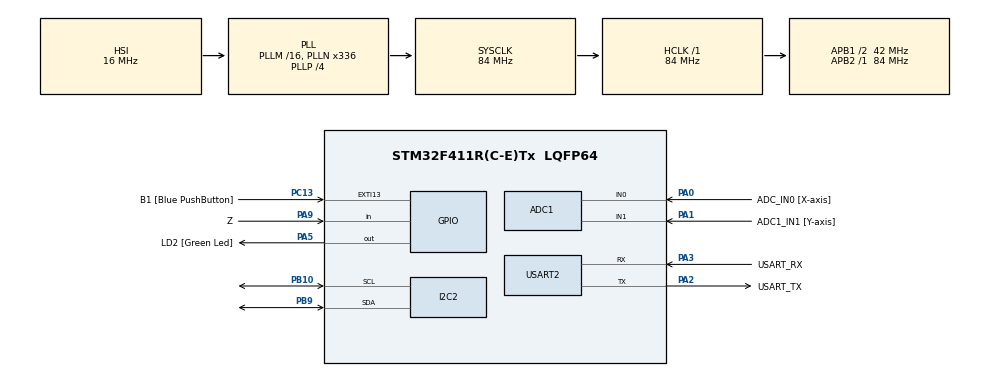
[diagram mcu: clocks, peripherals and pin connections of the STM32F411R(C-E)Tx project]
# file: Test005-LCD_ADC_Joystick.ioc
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ADC1.Channel-0\#ChannelRegularConversion=ADC_CHANNEL_0
ADC1.Channel-1\#ChannelRegularConversion=ADC_CHANNEL_1
ADC1.DMAContinuousRequests=ENABLE
ADC1.DiscontinuousConvMode=ENABLE
ADC1.EOCSelection=ADC_EOC_SINGLE_CONV
ADC1.ExternalTrigConv=ADC_EXTERNALTRIGCONV_T3_TRGO
ADC1.NbrOfConversion=2
ADC1.NbrOfConversionFlag=1
ADC1.Rank-0\#ChannelRegularConversion=1
ADC1.Rank-1\#ChannelRegularConversion=2
ADC1.SamplingTime-0\#ChannelRegularConversion=ADC_SAMPLETIME_3CYCLES
ADC1.SamplingTime-1\#ChannelRegularConversion=ADC_SAMPLETIME_3CYCLES
ADC1.ScanConvMode=ENABLE
ADC1.master=1
Dma.ADC1.0.Direction=DMA_PERIPH_TO_MEMORY
Dma.ADC1.0.FIFOMode=DMA_FIFOMODE_DISABLE
Dma.ADC1.0.Instance=DMA2_Stream0
Dma.ADC1.0.MemDataAlignment=DMA_MDATAALIGN_HALFWORD
Dma.ADC1.0.MemInc=DMA_MINC_ENABLE
Dma.ADC1.0.Mode=DMA_CIRCULAR
Dma.ADC1.0.PeriphDataAlignment=DMA_PDATAALIGN_HALFWORD
Dma.ADC1.0.PeriphInc=DMA_PINC_DISABLE
Dma.ADC1.0.Priority=DMA_PRIORITY_LOW
Dma.Request0=ADC1
Mcu.Family=STM32F4
Mcu.Name=STM32F411R(C-E)Tx
Mcu.Package=LQFP64
NVIC.DMA2_Stream0_IRQn=true\:0\:0\:false\:false\:true\:false\:true\:true
NVIC.PriorityGroup=NVIC_PRIORITYGROUP_0
PA0-WKUP.GPIO_Label=ADC_IN0 [X-axis]
PA0-WKUP.Signal=ADCx_IN0
PA1.GPIO_Label=ADC1_IN1 [Y-axis]
PA1.Signal=ADCx_IN1
PA13.GPIO_Label=TMS
PA13.Mode=Serial_Wire
PA13.Signal=SYS_JTMS-SWDIO
PA14.GPIO_Label=TCK
PA14.Mode=Serial_Wire
PA14.Signal=SYS_JTCK-SWCLK
PA2.GPIO_Label=USART_TX
PA2.Mode=Asynchronous
PA2.Signal=USART2_TX
PA3.GPIO_Label=USART_RX
PA3.Mode=Asynchronous
PA3.Signal=USART2_RX
PA5.GPIO_Label=LD2 [Green Led]
PA5.Signal=GPIO_Output
PA9.GPIO_Label=Z
PA9.GPIO_PuPd=GPIO_PULLUP
PA9.Signal=GPIO_Input
PB10.Mode=I2C
PB10.Signal=I2C2_SCL
PB3.GPIO_Label=SWO
PB3.Signal=SYS_JTDO-SWO
PB9.Mode=I2C
PB9.Signal=I2C2_SDA
PC13-ANTI_TAMP.GPIO_Label=B1 [Blue PushButton]
PC13-ANTI_TAMP.GPIO_ModeDefaultEXTI=GPIO_MODE_IT_FALLING
PC13-ANTI_TAMP.Signal=GPXTI13
PC14-OSC32_IN.Mode=LSE-External-Oscillator
PC14-OSC32_IN.Signal=RCC_OSC32_IN
PC15-OSC32_OUT.Mode=LSE-External-Oscillator
PC15-OSC32_OUT.Signal=RCC_OSC32_OUT
PH0\ -\ OSC_IN.Mode=HSE-External-Clock-Source
PH0\ -\ OSC_IN.Signal=RCC_OSC_IN
PH1\ -\ OSC_OUT.Mode=HSE-External-Clock-Source
PH1\ -\ OSC_OUT.Signal=RCC_OSC_OUT
ProjectManager.HeapSize=0x200
ProjectManager.StackSize=0x400
ProjectManager.TargetToolchain=STM32CubeIDE
RCC.48MHZClocksFreq_Value=84000000
RCC.AHBFreq_Value=84000000
RCC.APB1CLKDivider=RCC_HCLK_DIV2
RCC.APB1Freq_Value=42000000
RCC.APB1TimFreq_Value=84000000
RCC.APB2Freq_Value=84000000
RCC.APB2TimFreq_Value=84000000
RCC.CortexFreq_Value=84000000
RCC.FLatency-AdvancedSettings=FLASH_LATENCY_2
RCC.HCLKFreq_Value=84000000
RCC.HSE_VALUE=8000000
RCC.HSI_VALUE=16000000
RCC.PLLN=336
RCC.PLLP=RCC_PLLP_DIV4
RCC.SYSCLKFreq_VALUE=84000000
RCC.SYSCLKSource=RCC_SYSCLKSOURCE_PLLCLK
RCC.VCOOutputFreq_Value=336000000
SH.ADCx_IN0.0=ADC1_IN0,IN0
SH.ADCx_IN1.0=ADC1_IN1,IN1
TIM3.Period=1000-1
TIM3.Prescaler=4200-1
TIM3.TIM_MasterOutputTrigger=TIM_TRGO_UPDATE
USART2.VirtualMode=VM_ASYNC
VP_TIM3_VS_ClockSourceINT.Mode=Internal
board=NUCLEO-F411RE

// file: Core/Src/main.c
/* USER CODE BEGIN Header */
/**
  ******************************************************************************
  * @file           : main.c
  * @brief          : Main program body
  ******************************************************************************
  * @attention
  *
  * Copyright (c) 2024 STMicroelectronics.
  * All rights reserved.
  *
  * This software is licensed under terms that can be found in the LICENSE file
  * in the root directory of this software component.
  * If no LICENSE file comes with this software, it is provided AS-IS.
  *
  ******************************************************************************
  */
/* USER CODE END Header */
#include "main.h"

ADC_HandleTypeDef hadc1;
DMA_HandleTypeDef hdma_adc1;

I2C_HandleTypeDef hi2c2;

TIM_HandleTypeDef htim3;

UART_HandleTypeDef huart2;

void SystemClock_Config(void);
static void MX_GPIO_Init(void);
static void MX_DMA_Init(void);
static void MX_USART2_UART_Init(void);
static void MX_ADC1_Init(void);
static void MX_TIM3_Init(void);
static void MX_I2C2_Init(void);

/* USER CODE BEGIN 0 */
unsigned short val[2]; // half-word : 2-byte > unsigned short
// val[0] : x, val[1] : y

/* USER CODE END 0 */

int main(void)
{

  /* MCU Configuration--------------------------------------------------------*/

  /* Reset of all peripherals, Initializes the Flash interface and the Systick. */
  HAL_Init();

  /* Configure the system clock */
  SystemClock_Config();

  /* Initialize all configured peripherals */
  MX_GPIO_Init();
  MX_DMA_Init();
  MX_USART2_UART_Init();
  MX_ADC1_Init();
  MX_TIM3_Init();
  MX_I2C2_Init();
  /* USER CODE BEGIN 2 */
  ProgramStart("I2C - LCD 1602 - ADC - Joystick");

  HAL_ADC_Start_DMA(&hadc1, val, 2);
  // HAL_StatusTypeDef HAL_ADC_Start_DMA(ADC_HandleTypeDef *hadc, uint32_t *pData, uint32_t Length)
  // uint32_t *pData : Buffer
  // uint32_t Length : Buffer Length
  HAL_TIM_Base_Start(&htim3); // // Start Timer 3 Function (INTR X)

  i2c_init(&hi2c2); // which I2C controller will be used?
  i2c_scan(); // Find Slave Address for I2C Communication
  HAL_Delay(10);

  LCD_init(); HAL_Delay(10);

  char val0_arr[20], val1_arr[20]; // sprintf Buffer

  /* USER CODE END 2 */

  /* Infinite loop */
  while (1)
  {

    /* USER CODE BEGIN 3 */
	double tm = (240.0 / 4096.0) * val[0] - 40.0;
	double hm = (100.0 / 4096.0) * val[1];

	sprintf( val0_arr, "X : %-6.1f" , tm );
	sprintf( val1_arr, "Y : %-6.1f" , hm );
	// char val0_arr[4] = { 48 + val[0]/1000, 48 + (val[0]%1000)/100, 48 + (val[0]%100)/10, 48 + val[0]%10 };
	// char val1_arr[4] = { 48 + val[1]/1000, 48 + (val[1]%1000)/100, 48 + (val[1]%100)/10, 48 + val[1]%10 };

	LCD_PrintEx(val0_arr, 0);
	// HAL_Delay(300);
	LCD_PrintEx(val1_arr, 1);
	HAL_Delay(300);
  }
  /* USER CODE END 3 */
}

void SystemClock_Config(void)
{
  RCC_OscInitTypeDef RCC_OscInitStruct = {0};
  RCC_ClkInitTypeDef RCC_ClkInitStruct = {0};

  /** Configure the main internal regulator output voltage
  */
  __HAL_RCC_PWR_CLK_ENABLE();
  __HAL_PWR_VOLTAGESCALING_CONFIG(PWR_REGULATOR_VOLTAGE_SCALE1);

  /** Initializes the RCC Oscillators according to the specified parameters
  * in the RCC_OscInitTypeDef structure.
  */
  RCC_OscInitStruct.OscillatorType = RCC_OSCILLATORTYPE_HSI;
  RCC_OscInitStruct.HSIState = RCC_HSI_ON;
  RCC_OscInitStruct.HSICalibrationValue = RCC_HSICALIBRATION_DEFAULT;
  RCC_OscInitStruct.PLL.PLLState = RCC_PLL_ON;
  RCC_OscInitStruct.PLL.PLLSource = RCC_PLLSOURCE_HSI;
  RCC_OscInitStruct.PLL.PLLM = 16;
  RCC_OscInitStruct.PLL.PLLN = 336;
  RCC_OscInitStruct.PLL.PLLP = RCC_PLLP_DIV4;
  RCC_OscInitStruct.PLL.PLLQ = 4;
  if (HAL_RCC_OscConfig(&RCC_OscInitStruct) != HAL_OK)
  {
    Error_Handler();
  }

  /** Initializes the CPU, AHB and APB buses clocks
  */
  RCC_ClkInitStruct.ClockType = RCC_CLOCKTYPE_HCLK|RCC_CLOCKTYPE_SYSCLK
                              |RCC_CLOCKTYPE_PCLK1|RCC_CLOCKTYPE_PCLK2;
  RCC_ClkInitStruct.SYSCLKSource = RCC_SYSCLKSOURCE_PLLCLK;
  RCC_ClkInitStruct.AHBCLKDivider = RCC_SYSCLK_DIV1;
  RCC_ClkInitStruct.APB1CLKDivider = RCC_HCLK_DIV2;
  RCC_ClkInitStruct.APB2CLKDivider = RCC_HCLK_DIV1;

  if (HAL_RCC_ClockConfig(&RCC_ClkInitStruct, FLASH_LATENCY_2) != HAL_OK)
  {
    Error_Handler();
  }
}

static void MX_ADC1_Init(void)
{

  ADC_ChannelConfTypeDef sConfig = {0};

  /** Configure the global features of the ADC (Clock, Resolution, Data Alignment and number of conversion)
  */
  hadc1.Instance = ADC1;
  hadc1.Init.ClockPrescaler = ADC_CLOCK_SYNC_PCLK_DIV4;
  hadc1.Init.Resolution = ADC_RESOLUTION_12B;
  hadc1.Init.ScanConvMode = ENABLE;
  hadc1.Init.ContinuousConvMode = DISABLE;
  hadc1.Init.DiscontinuousConvMode = ENABLE;
  hadc1.Init.NbrOfDiscConversion = 1;
  hadc1.Init.ExternalTrigConvEdge = ADC_EXTERNALTRIGCONVEDGE_RISING;
  hadc1.Init.ExternalTrigConv = ADC_EXTERNALTRIGCONV_T3_TRGO;
  hadc1.Init.DataAlign = ADC_DATAALIGN_RIGHT;
  hadc1.Init.NbrOfConversion = 2;
  hadc1.Init.DMAContinuousRequests = ENABLE;
  hadc1.Init.EOCSelection = ADC_EOC_SINGLE_CONV;
  if (HAL_ADC_Init(&hadc1) != HAL_OK)
  {
    Error_Handler();
  }

  /** Configure for the selected ADC regular channel its corresponding rank in the sequencer and its sample time.
  */
  sConfig.Channel = ADC_CHANNEL_0;
  sConfig.Rank = 1;
  sConfig.SamplingTime = ADC_SAMPLETIME_3CYCLES;
  if (HAL_ADC_ConfigChannel(&hadc1, &sConfig) != HAL_OK)
  {
    Error_Handler();
  }

  /** Configure for the selected ADC regular channel its corresponding rank in the sequencer and its sample time.
  */
  sConfig.Channel = ADC_CHANNEL_1;
  sConfig.Rank = 2;
  if (HAL_ADC_ConfigChannel(&hadc1, &sConfig) != HAL_OK)
  {
    Error_Handler();
  }

}

static void MX_I2C2_Init(void)
{

  hi2c2.Instance = I2C2;
  hi2c2.Init.ClockSpeed = 100000;
  hi2c2.Init.DutyCycle = I2C_DUTYCYCLE_2;
  hi2c2.Init.OwnAddress1 = 0;
  hi2c2.Init.AddressingMode = I2C_ADDRESSINGMODE_7BIT;
  hi2c2.Init.DualAddressMode = I2C_DUALADDRESS_DISABLE;
  hi2c2.Init.OwnAddress2 = 0;
  hi2c2.Init.GeneralCallMode = I2C_GENERALCALL_DISABLE;
  hi2c2.Init.NoStretchMode = I2C_NOSTRETCH_DISABLE;
  if (HAL_I2C_Init(&hi2c2) != HAL_OK)
  {
    Error_Handler();
  }

}

static void MX_TIM3_Init(void)
{

  TIM_ClockConfigTypeDef sClockSourceConfig = {0};
  TIM_MasterConfigTypeDef sMasterConfig = {0};

  htim3.Instance = TIM3;
  htim3.Init.Prescaler = 4200-1;
  htim3.Init.CounterMode = TIM_COUNTERMODE_UP;
  htim3.Init.Period = 1000-1;
  htim3.Init.ClockDivision = TIM_CLOCKDIVISION_DIV1;
  htim3.Init.AutoReloadPreload = TIM_AUTORELOAD_PRELOAD_DISABLE;
  if (HAL_TIM_Base_Init(&htim3) != HAL_OK)
  {
    Error_Handler();
  }
  sClockSourceConfig.ClockSource = TIM_CLOCKSOURCE_INTERNAL;
  if (HAL_TIM_ConfigClockSource(&htim3, &sClockSourceConfig) != HAL_OK)
  {
    Error_Handler();
  }
  sMasterConfig.MasterOutputTrigger = TIM_TRGO_UPDATE;
  sMasterConfig.MasterSlaveMode = TIM_MASTERSLAVEMODE_DISABLE;
  if (HAL_TIMEx_MasterConfigSynchronization(&htim3, &sMasterConfig) != HAL_OK)
  {
    Error_Handler();
  }

}

static void MX_USART2_UART_Init(void)
{

  huart2.Instance = USART2;
  huart2.Init.BaudRate = 115200;
  huart2.Init.WordLength = UART_WORDLENGTH_8B;
  huart2.Init.StopBits = UART_STOPBITS_1;
  huart2.Init.Parity = UART_PARITY_NONE;
  huart2.Init.Mode = UART_MODE_TX_RX;
  huart2.Init.HwFlowCtl = UART_HWCONTROL_NONE;
  huart2.Init.OverSampling = UART_OVERSAMPLING_16;
  if (HAL_UART_Init(&huart2) != HAL_OK)
  {
    Error_Handler();
  }

}

static void MX_DMA_Init(void)
{

  /* DMA controller clock enable */
  __HAL_RCC_DMA2_CLK_ENABLE();

  /* DMA interrupt init */
  /* DMA2_Stream0_IRQn interrupt configuration */
  HAL_NVIC_SetPriority(DMA2_Stream0_IRQn, 0, 0);
  HAL_NVIC_EnableIRQ(DMA2_Stream0_IRQn);

}

static void MX_GPIO_Init(void)
{
  GPIO_InitTypeDef GPIO_InitStruct = {0};

  /* GPIO Ports Clock Enable */
  __HAL_RCC_GPIOC_CLK_ENABLE();
  __HAL_RCC_GPIOH_CLK_ENABLE();
  __HAL_RCC_GPIOA_CLK_ENABLE();
  __HAL_RCC_GPIOB_CLK_ENABLE();

  /*Configure GPIO pin Output Level */
  HAL_GPIO_WritePin(LD2_GPIO_Port, LD2_Pin, GPIO_PIN_RESET);

  /*Configure GPIO pin : B1_Pin */
  GPIO_InitStruct.Pin = B1_Pin;
  GPIO_InitStruct.Mode = GPIO_MODE_IT_FALLING;
  GPIO_InitStruct.Pull = GPIO_NOPULL;
  HAL_GPIO_Init(B1_GPIO_Port, &GPIO_InitStruct);

  /*Configure GPIO pin : LD2_Pin */
  GPIO_InitStruct.Pin = LD2_Pin;
  GPIO_InitStruct.Mode = GPIO_MODE_OUTPUT_PP;
  GPIO_InitStruct.Pull = GPIO_NOPULL;
  GPIO_InitStruct.Speed = GPIO_SPEED_FREQ_LOW;
  HAL_GPIO_Init(LD2_GPIO_Port, &GPIO_InitStruct);

  /*Configure GPIO pin : Z_Pin */
  GPIO_InitStruct.Pin = Z_Pin;
  GPIO_InitStruct.Mode = GPIO_MODE_INPUT;
  GPIO_InitStruct.Pull = GPIO_PULLUP;
  HAL_GPIO_Init(Z_GPIO_Port, &GPIO_InitStruct);

}

void Error_Handler(void)
{
  __disable_irq();
  while (1)
  {
  }
}
